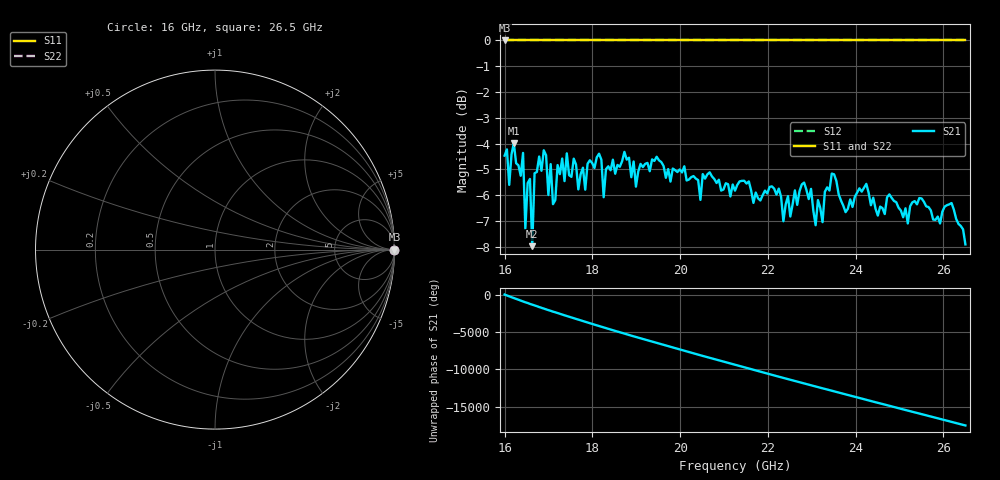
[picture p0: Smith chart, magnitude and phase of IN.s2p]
!Agilent N9918A: A.07.57
!Date: Thursday, 05 September 2019 10:43:11
!Timezone: (GMT-08:00) Pacific Time (US & Canada)
!Model: N9918A
!Serial: MY53103598
!GPS Latitude:
!GPS Longitude:
!GPS TimeStamp: 0001-01-01 00:00:00Z
!GPS Seconds Since Last Read: 0
!CHECKSUM:1005879470
!Correction: S11()S21(Rdy)S12()S22()
!S2P File: Measurements:S11,S21,S12,S22:
# Hz S DB R 50
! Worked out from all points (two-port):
!   201 points, 16 GHz to 26.5 GHz, reference 50 ohm
!   highest |S21| = -3.98 dB at 16.21 GHz (marker M1); lowest = -8.0 dB at 16.63 GHz (marker M2)
!   |S21| within 3 dB of the highest: 16.65 GHz to 22.35 GHz (5.703 GHz wide, 29.2 % of centre); 23.25 GHz to 25.18 GHz (1.93 GHz wide, 7.97 % of centre)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
!   lowest |S11| = 0.0 dB at 16 GHz (marker M3)
!   |S11| at or under -10 dB: nowhere
!   |S22| runs from 0.0 to 0.0 dB; largest |S21 - S12| = 1.6
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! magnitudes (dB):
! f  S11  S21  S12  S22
! 16 GHz  0.0  -4.5  0.0  0.0
! 16.11 GHz  0.0  -5.6  0.0  0.0
! 16.21 GHz  0.0  -4.0  0.0  0.0
! 16.42 GHz  0.0  -4.4  0.0  0.0
! 16.47 GHz  0.0  -7.3  0.0  0.0
! 16.58 GHz  0.0  -5.4  0.0  0.0
! 16.63 GHz  0.0  -8.0  0.0  0.0
! 16.68 GHz  0.0  -5.1  0.0  0.0
! 16.79 GHz  0.0  -4.5  0.0  0.0
! 17 GHz  0.0  -6.0  0.0  0.0
! 17.05 GHz  0.0  -4.8  0.0  0.0
! 17.1 GHz  0.0  -6.3  0.0  0.0
! 17.31 GHz  0.0  -4.6  0.0  0.0
! 17.79 GHz  0.0  -4.9  0.0  0.0
! 19.52 GHz  0.0  -4.6  0.0  0.0
! 21.25 GHz  0.0  -5.8  0.0  0.0
! 23.04 GHz  0.0  -6.6  0.0  0.0
! 23.45 GHz  0.0  -5.2  0.0  0.0
! 23.77 GHz  0.0  -6.7  0.0  0.0
! 24.77 GHz  0.0  -6.0  0.0  0.0
! 26.18 GHz  0.0  -6.3  0.0  0.0
! 26.5 GHz  0.0  -7.9  0.0  0.0
